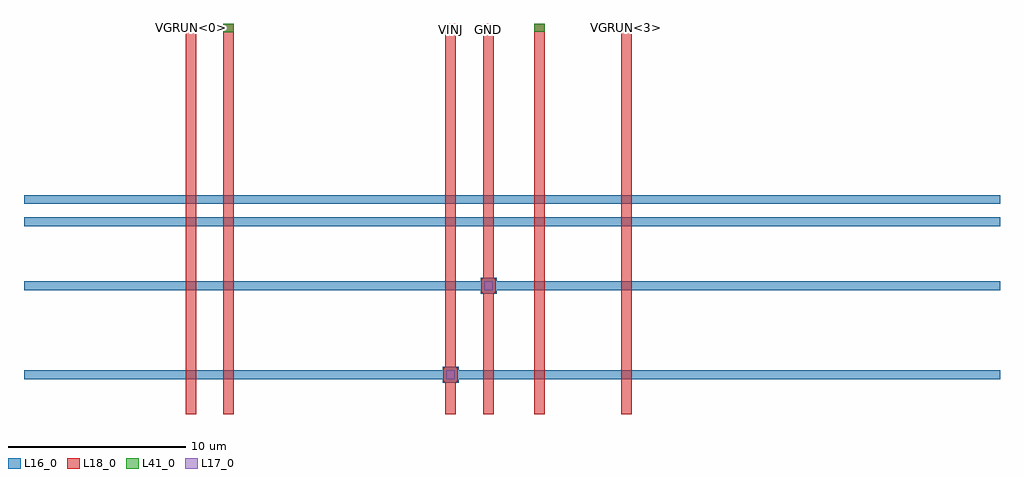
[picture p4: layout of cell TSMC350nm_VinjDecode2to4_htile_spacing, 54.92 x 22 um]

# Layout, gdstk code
import gdstk
lib = gdstk.Library(unit=1e-6, precision=1e-09)
def R(c, l, rs):  # rectangles x0, y0, x1, y1
    for r in rs: c.add(gdstk.rectangle(r[:2], r[2:], *l))
L16_0 = (16, 0)
L17_0 = (17, 0)
L18_0 = (18, 0)
L41_0 = (41, 0)

prog_periph_via2_cdns_74 = lib.new_cell('prog_periph_VIA2_CDNS_744051355920')
R(prog_periph_via2_cdns_74, L16_0, [(-0.45,-0.45,0.45,0.45)])
R(prog_periph_via2_cdns_74, L17_0, [(-0.25,-0.25,0.25,0.25)])
R(prog_periph_via2_cdns_74, L18_0, [(-0.4,-0.4,0.4,0.4)])

tsmc350nm_vinjdecode2to4 = lib.new_cell('TSMC350nm_VinjDecode2to4_htile_spacing')
R(tsmc350nm_vinjdecode2to4, L41_0, [(11.2,21.52,11.8,22), (28.7,21.54,29.3,22), (33.6,21.55,34.2,22), (9.1,21.59,9.7,22)])
tsmc350nm_vinjdecode2to4.add(gdstk.FlexPath([(0,10.85),(54.92,10.85)], 0.5, ends="flush", simple_path=True, layer=16, datatype=0))  # L16_0
tsmc350nm_vinjdecode2to4.add(gdstk.FlexPath([(0,12.1),(54.92,12.1)], 0.5, ends="flush", simple_path=True, layer=16, datatype=0))  # L16_0
tsmc350nm_vinjdecode2to4.add(gdstk.FlexPath([(0,7.24),(54.92,7.24)], 0.5, ends="flush", simple_path=True, layer=16, datatype=0))  # L16_0
tsmc350nm_vinjdecode2to4.add(gdstk.FlexPath([(0,2.24),(54.92,2.24)], 0.5, ends="flush", simple_path=True, layer=16, datatype=0))  # L16_0
tsmc350nm_vinjdecode2to4.add(gdstk.FlexPath([(24,0),(24,2.24)], 0.6, ends="flush", simple_path=True, layer=18, datatype=0))  # L18_0
tsmc350nm_vinjdecode2to4.add(gdstk.FlexPath([(24,2.24),(24,22)], 0.6, ends="flush", simple_path=True, layer=18, datatype=0))  # L18_0
tsmc350nm_vinjdecode2to4.add(gdstk.FlexPath([(26.14,0),(26.14,7.24)], 0.6, ends="flush", simple_path=True, layer=18, datatype=0))  # L18_0
tsmc350nm_vinjdecode2to4.add(gdstk.FlexPath([(26.14,7.24),(26.14,22)], 0.6, ends="flush", simple_path=True, layer=18, datatype=0))  # L18_0
tsmc350nm_vinjdecode2to4.add(gdstk.FlexPath([(11.5,0),(11.5,22)], 0.6, ends="flush", simple_path=True, layer=18, datatype=0))  # L18_0
tsmc350nm_vinjdecode2to4.add(gdstk.FlexPath([(9.4,0),(9.4,22)], 0.6, ends="flush", simple_path=True, layer=18, datatype=0))  # L18_0
tsmc350nm_vinjdecode2to4.add(gdstk.FlexPath([(29,0),(29,22)], 0.6, ends="flush", simple_path=True, layer=18, datatype=0))  # L18_0
tsmc350nm_vinjdecode2to4.add(gdstk.FlexPath([(33.9,0),(33.9,22)], 0.6, ends="flush", simple_path=True, layer=18, datatype=0))  # L18_0
tsmc350nm_vinjdecode2to4.add(gdstk.Reference(prog_periph_via2_cdns_74, (26.14,7.24)))
tsmc350nm_vinjdecode2to4.add(gdstk.Reference(prog_periph_via2_cdns_74, (24,2.24)))
tsmc350nm_vinjdecode2to4.add(gdstk.Label('VINJ', (24.04,21.69), layer=18, texttype=0))
tsmc350nm_vinjdecode2to4.add(gdstk.Label('GND', (26.12,21.68), layer=18, texttype=0))
tsmc350nm_vinjdecode2to4.add(gdstk.Label('VGRUN<0>', (9.44,21.8), layer=41, texttype=0))
tsmc350nm_vinjdecode2to4.add(gdstk.Label('VGRUN<1>', (11.5,21.76), layer=41, texttype=0))
tsmc350nm_vinjdecode2to4.add(gdstk.Label('VGRUN<2>', (28.98,21.75), layer=41, texttype=0))
tsmc350nm_vinjdecode2to4.add(gdstk.Label('VGRUN<3>', (33.91,21.77), layer=41, texttype=0))

lib.write_gds('TSMC350nm_VinjDecode2to4_htile_spacing.gds')
